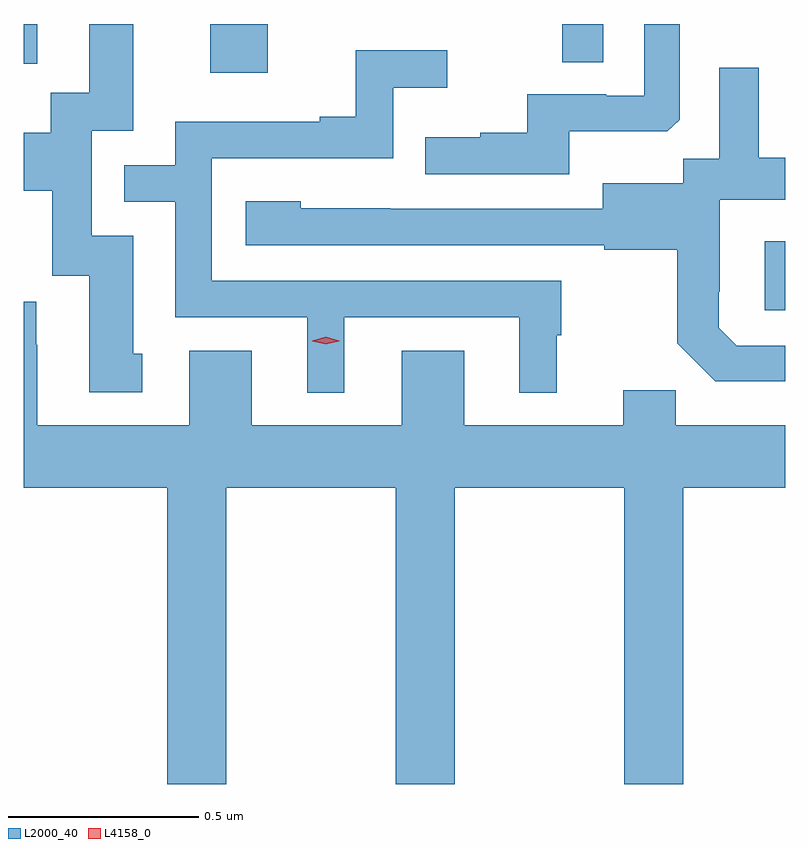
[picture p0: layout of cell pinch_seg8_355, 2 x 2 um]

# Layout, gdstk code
import gdstk
lib = gdstk.Library(unit=1e-6, precision=1e-09)
def R(c, l, rs):  # rectangles x0, y0, x1, y1
    for r in rs: c.add(gdstk.rectangle(r[:2], r[2:], *l))
def P(c, l, *ps):  # polygons
    for p in ps: c.add(gdstk.Polygon(p, *l))
L2000_40 = (2000, 40)
L4158_0 = (4158, 0)

pinch_seg8_355 = lib.new_cell('pinch_seg8_355')
R(pinch_seg8_355, L2000_40, [(419.729,1138.278,419.782,1138.459), (418.271,1138.902,418.423,1139.03), (417.782,1138.926,417.817,1139.03), (419.196,1138.93,419.304,1139.03)])
P(pinch_seg8_355, L2000_40, [(419.215,1138.748),(419.473,1138.748),(419.505,1138.779),(419.505,1139.03),(419.412,1139.03),(419.412,1138.842),(419.312,1138.842),(419.312,1138.845),(419.105,1138.845),(419.105,1138.744),(418.981,1138.744),(418.981,1138.732),(418.837,1138.732),(418.837,1138.635),(419.215,1138.635)],
  [(418.093,1138.164),(418.069,1138.164),(418.069,1138.473),(417.96,1138.473),(417.96,1138.749),(418.069,1138.749),(418.069,1139.03),(417.953,1139.03),(417.953,1138.85),(417.852,1138.85),(417.852,1138.744),(417.782,1138.744),(417.782,1138.592),(417.857,1138.592),(417.857,1138.368),(417.953,1138.368),(417.953,1138.062),(418.093,1138.062)],
  [(418.624,1138.26),(419.084,1138.26),(419.084,1138.061),(419.182,1138.061),(419.182,1138.212),(419.194,1138.212),(419.194,1138.356),(418.275,1138.356),(418.275,1138.677),(418.752,1138.677),(418.752,1138.862),(418.894,1138.862),(418.894,1138.961),(418.654,1138.961),(418.654,1138.786),(418.559,1138.786),(418.559,1138.773),(418.179,1138.773),(418.179,1138.659),(418.045,1138.659),(418.045,1138.563),(418.179,1138.563),(418.179,1138.26),(418.526,1138.26),(418.526,1138.061),(418.624,1138.061)],
  [(419.782,1138.185),(419.655,1138.185),(419.608,1138.232),(419.608,1138.327),(419.61,1138.327),(419.61,1138.568),(419.782,1138.568),(419.782,1138.678),(419.713,1138.678),(419.713,1138.915),(419.609,1138.915),(419.609,1138.676),(419.514,1138.676),(419.514,1138.612),(419.303,1138.612),(419.303,1138.545),(418.745,1138.545),(418.745,1138.546),(418.509,1138.546),(418.509,1138.564),(418.365,1138.564),(418.365,1138.449),(419.307,1138.449),(419.307,1138.437),(419.499,1138.437),(419.499,1138.191),(419.599,1138.091),(419.782,1138.091)],
  [(418.314,1137.812),(418.759,1137.812),(418.759,1137.033),(418.914,1137.033),(418.914,1137.812),(419.359,1137.812),(419.359,1137.033),(419.514,1137.033),(419.514,1137.812),(419.782,1137.812),(419.782,1137.976),(419.495,1137.976),(419.495,1138.067),(419.357,1138.067),(419.357,1137.976),(418.939,1137.976),(418.939,1138.171),(418.775,1138.171),(418.775,1137.976),(418.381,1137.976),(418.381,1138.171),(418.217,1138.171),(418.217,1137.976),(417.817,1137.976),(417.817,1138.187),(417.814,1138.187),(417.814,1138.3),(417.782,1138.3),(417.782,1137.812),(418.159,1137.812),(418.159,1137.033),(418.314,1137.033)])
P(pinch_seg8_355, L4158_0, [(418.575,1138.188),(418.539,1138.197),(418.539,1138.198),(418.539,1138.198),(418.575,1138.208),(418.611,1138.198),(418.611,1138.198),(418.611,1138.197)])

lib.write_gds('pinch_seg8_355.gds')
